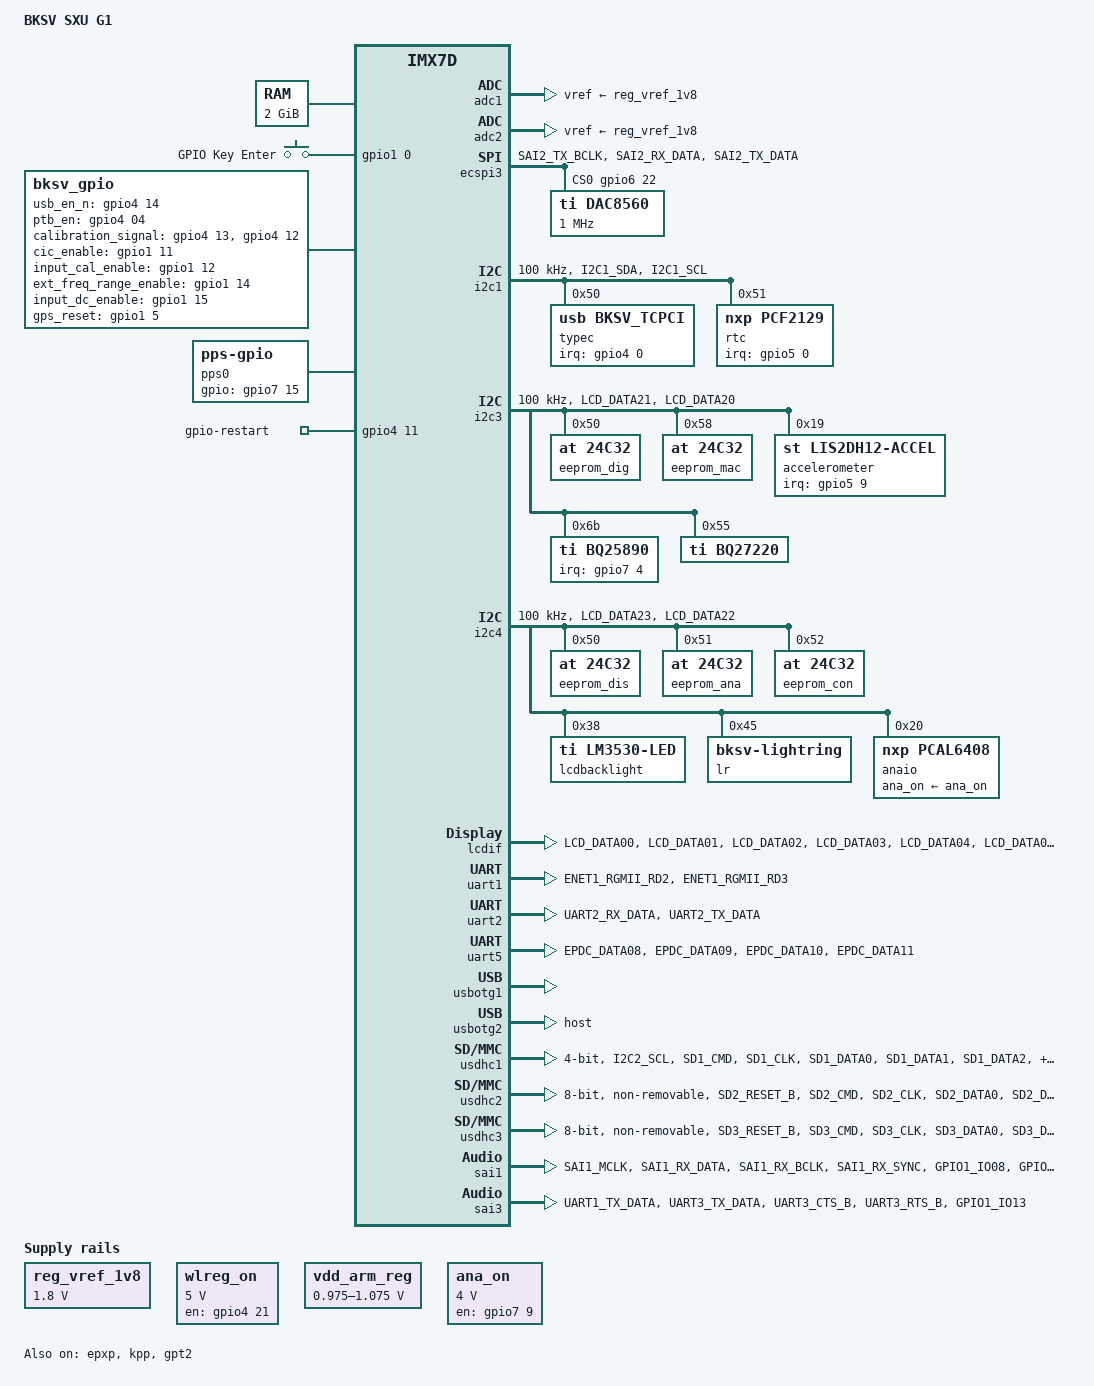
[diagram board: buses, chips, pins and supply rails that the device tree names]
/*
 * Copyright (C) 2015 Freescale Semiconductor, Inc.
 *
 * This program is free software; you can redistribute it and/or modify
 * it under the terms of the GNU General Public License version 2 as
 * published by the Free Software Foundation.
 */

/dts-v1/;

#include <dt-bindings/input/input.h>
#include "imx7d.dtsi"

/ {
	model = "BKSV SXU G1";
	compatible = "bksv,sxu-g1", "fsl,imx7d";


	memory {
		reg = <0x80000000 0x80000000>;
	};
	pxp_v4l2_out {
		compatible = "fsl,imx7d-pxp-v4l2", "fsl,imx6sx-pxp-v4l2", "fsl,imx6sl-pxp-v4l2";
		status = "okay";
	};

	regulators {
		compatible = "simple-bus";
		#address-cells = <1>;
		#size-cells = <0>;

		reg_vref_1v8: regulator@5 {
			compatible = "regulator-fixed";
			reg = <5>;
			regulator-name = "vref-1v8";
			regulator-min-microvolt = <1800000>;
			regulator-max-microvolt = <1800000>;
		};

		wlreg_on: fixedregulator@100 {
			compatible = "regulator-fixed";
			regulator-min-microvolt = <5000000>;
			regulator-max-microvolt = <5000000>;
			regulator-name = "wlreg_on";
			gpio = <&gpio4 21 GPIO_ACTIVE_HIGH>;
			startup-delay-us = <100>;
			enable-active-high;
		};

		vdd_arm_reg: gpio-regulator {
			compatible = "regulator-gpio";
			regulator-name = "vdd_arm_reg";
			regulator-type = "voltage";
			regulator-min-microvolt = <975000>;
			regulator-max-microvolt = <1075000>;

			gpios = <&gpio5 01 GPIO_ACTIVE_HIGH>;
			states = <975000 0x0
					  1075000 0x1>;
			regulator-always-on;
			startup-delay-us = <1000>;
		};

		ana_on: fixedregulator@101 {
			compatible = "regulator-fixed";
			regulator-min-microvolt = <4000000>;
			regulator-max-microvolt = <4000000>;
			regulator-name = "ana_on";
			gpio = <&gpio7 9 GPIO_ACTIVE_HIGH>;
			regulator-enable-ramp-delay = <100000>;
			enable-active-high;
		};

	};
	gpio-keys {
		compatible = "gpio-keys";
		pinctrl-names = "default";
		pinctrl-0 = <&pinctrl_gpio_keys>;
		autorepeat;
		enter {
			label = "GPIO Key Enter";
			linux,code = <KEY_ENTER>;
			gpios = <&gpio1 0 GPIO_ACTIVE_HIGH>;
			autorepeat;
		};
	};

	bksv_gpio {
		compatible = "bksv_gpio";
		pinctrl-names = "default";
		pinctrl-0 = <&pinctrl_bksv_gpio &pinctrl_gpio_gnss1>;
		status = "okay";
		usb_en_n-gpios              = <&gpio4 14 GPIO_ACTIVE_HIGH>;
		ptb_en-gpios                = <&gpio4 04 GPIO_ACTIVE_HIGH>;
		calibration_signal-gpios    = <&gpio4 13 GPIO_ACTIVE_HIGH>, //CAL_A0
                                      <&gpio4 12 GPIO_ACTIVE_HIGH>; //CAL_A1
		cic_enable-gpios            = <&gpio1 11 GPIO_ACTIVE_HIGH>;
		input_cal_enable-gpios      = <&gpio1 12 GPIO_ACTIVE_HIGH>;
		ext_freq_range_enable-gpios = <&gpio1 14 GPIO_ACTIVE_HIGH>;
		input_dc_enable-gpios       = <&gpio1 15 GPIO_ACTIVE_HIGH>;
		gps_reset-gpios             = <&gpio1  5 GPIO_ACTIVE_HIGH>;
	    psu_burst-gpios             = <&gpio2 27 GPIO_ACTIVE_HIGH>;
	    ext_access-gpios            = <&gpio2 24 GPIO_ACTIVE_HIGH>;
	    tp500-gpios                 = <&gpio7 13 GPIO_ACTIVE_HIGH>;
        ana_on-supply = <&ana_on>;
	};


	pps0 {
	 	pinctrl-names = "default";
	 	pinctrl-0 = <&pinctrl_pps>;

	 	gpios = <&gpio7 15 GPIO_ACTIVE_HIGH>;
	/* 	assert-falling-edge; */

	 	compatible = "pps-gpio";
	 	status = "okay";
	};
	
	gpio-restart {
		pinctrl-names = "default";
		pinctrl-0 = <&pinctrl_gpio_reset>;
		gpios = <&gpio4 11 GPIO_ACTIVE_HIGH>;
		priority = <255>;
		wait-delay = <300>;

		compatible = "gpio-restart";
		status = "okay";	
	};
};
&cpu0 {
	arm-supply = <&vdd_arm_reg>;
	operating-points = <
		/* KHz	uV */
		996000	1075000
		780000	975000
	>;
};

&adc1 {
	vref-supply = <&reg_vref_1v8>;
	status = "okay";
};

&adc2 {
	vref-supply = <&reg_vref_1v8>;
	status = "okay";
};

&epxp {
	status = "okay";
};

&ecspi3 {
	fsl,spi-num-chipselects = <1>;
	pinctrl-names = "default";
	pinctrl-0 = <&pinctrl_ecspi3 &pinctrl_ecspi3_cs>;
	cs-gpios = <&gpio6 22 0>;
	status = "okay";
	dac8560: dac8560@0 {
		compatible = "ti,dac8560";
		reg = <0>; /* CS0 */
		spi-max-frequency = <1000000>;
        init-val = <35000>;
	};

};

/* I2C-1: RTC 0x51 (test), USB type-c 0x50 (X)*/
&i2c1 {
	clock-frequency = <100000>;
	pinctrl-names = "default";
	pinctrl-0 = <&pinctrl_i2c1>;
	status = "okay";
	assigned-clocks = <&clks IMX7D_I2C1_ROOT_SRC>,
			          <&clks IMX7D_I2C1_ROOT_CLK>;
 	assigned-clock-parents = <&clks IMX7D_PLL_SYS_PFD2_135M_CLK>;
	assigned-clock-rates = <0>,<67500000>;

	typec: ptn5110@50 {
		compatible = "usb,bksv_tcpci";
    	pinctrl-names = "default";
		pinctrl-0 = <&pinctrl_tcpc>;
		reg = <0x50>;
		interrupt-parent = <&gpio4>;
		interrupts = <0 IRQ_TYPE_LEVEL_LOW>;
		port-type = "dual";
		default-role = "sink";
		src-pdos = <0x36019032>;
		snk-pdos = <0x26019000>;
		max-snk-mv = <5000>;
		max-snk-ma = <3000>;
		max-snk-mw = <15000>;
		op-snk-mw = <0>;
	};

	rtc: rtc@51 {
		compatible = "nxp,pcf2129";
    	pinctrl-names = "default";
		pinctrl-0 = <&pinctrl_rtc>;
		reg = <0x51>;
		interrupt-parent = <&gpio5>;
        interrupts = <0 IRQ_TYPE_EDGE_FALLING>;
	};

};

/* I2C-2: */
/*
&i2c2 {
	clock-frequency = <100000>;
	pinctrl-names = "default";
	pinctrl-0 = <&pinctrl_i2c2>;
	status = "disabled";
};
*/

/* I2C-3: Temperature sensor 0x49 (not mounted), IDprom 0x50 (✓), 
   Accelerometer 0x19 (test), Battery charger bq25896 0x6B (test),
   Fuel Gauge 0x55 (test)
*/
&i2c3 {
	clock-frequency = <100000>;
	pinctrl-names = "default";
	pinctrl-0 = <&pinctrl_i2c3>;
	status = "okay";
	assigned-clocks = <&clks IMX7D_I2C3_ROOT_SRC>,
			          <&clks IMX7D_I2C3_ROOT_CLK>;
 	assigned-clock-parents = <&clks IMX7D_PLL_SYS_PFD2_135M_CLK>;
	assigned-clock-rates = <0>,<67500000>;

    eeprom_dig: eeprom@50 {				//id prom, digital board
		compatible = "at,24c32";
        reg = <0x50>;
    };
    eeprom_mac: eeprom@58 {				//id prom, digital board, containing base station MAC address
		compatible = "at,24c32";
        reg = <0x58>;
    };
    accelerometer: accelerometer@19 {
        compatible = "st,lis2dh12-accel";
        reg = <0x19>;
		interrupt-parent = <&gpio5>;
		interrupts = <9 IRQ_TYPE_LEVEL_HIGH>,<10 IRQ_TYPE_LEVEL_HIGH>;
    };
    
/*	
	bat: battery {
    		compatible = "simple-battery";
			/ *
            voltage-min-design-microvolt = <3700000>;
            energy-full-design-microwatt-hours = <5290000>;
            charge-full-design-microamp-hours = <5800000>;
            precharge-current-microamp = <128000>;
            charge-term-current-microamp = <100000>;
            constant-charge-current-max-microamp = <3000000>;
            constant-charge-voltage-max-microvolt = <4200000>;
			* /
	};
*/    
    
	bq25890: bq25890@6b {
		    compatible = "ti,bq25890";
		    reg = <0x6b>;
			pinctrl-names ="default";
			pinctrl-0 = <&pinctrl_gpio_bq25890>;

			interrupt-parent = <&gpio7>;
            interrupts = <4 IRQ_TYPE_EDGE_FALLING>;

		    ti,battery-regulation-voltage = <4200000>;
		    ti,charge-current = <3000000>;
		    ti,termination-current = <256000>;
		    ti,precharge-current = <128000>;
		    ti,minimum-sys-voltage = <3600000>;
		    ti,boost-voltage = <5000000>;
		    ti,boost-max-current = <500000>;
			ti,ir-compensation = <20>;

		    ti,use-ilim-pin;
			ti,use-adpdm;
			ti,adc-1s;
		    ti,thermal-regulation-threshold = <120>;
			ti,input-voltage-limit-offset = <600000>;
			ti,pfm-otg-dis;
			ti,watchdog = <40>;
            
            /* monitored-battery: phandle of battery characteristics devicetree node */
           /* monitored-battery = <&bat>; */
	};

	bq27220: bq27220@55 {
		    compatible = "ti,bq27220";
		    reg = <0x55>;
            
            /* monitored-battery: phandle of battery characteristics devicetree node */
           /* monitored-battery = <&bat>;        */    
    };
/* 
    temperature: temperature@49 {
    	compatible = "national,lm75";
    	reg = <0x49>;
    };
*/

};
/* I2C-4: Display ID 0x50 (X), Backlight 0x38 (✓),
          Connector board ID 0x52 (X), LED 0x45,
          Analog interface ID 0x51 (X) */
&i2c4 {
	clock-frequency = <100000>;
	pinctrl-names = "default";
	pinctrl-0 = <&pinctrl_i2c4>;
	status = "okay";
	assigned-clocks = <&clks IMX7D_I2C4_ROOT_SRC>,
			          <&clks IMX7D_I2C4_ROOT_CLK>;
 	assigned-clock-parents = <&clks IMX7D_PLL_SYS_PFD2_135M_CLK>;
	assigned-clock-rates = <0>,<67500000>;


    eeprom_dis: eeprom@50 {                        //id prom, display board
		compatible = "at,24c32";
        reg = <0x50>;
    };

    eeprom_ana: eeprom@51 {                        //id prom, analog board
		compatible = "at,24c32";
        reg = <0x51>;
    };

    eeprom_con: eeprom@52 {                        //id prom, connector board
		compatible = "at,24c32";
        reg = <0x52>;
    };


    lcdbacklight: lcdbacklight@38 {
          compatible = "ti,lm3530-led";
          reg = <0x38>;
          linux,default-trigger = "backlight";
          mode = "man";
          als_input_mode = "INPUT_AVRG";
          max_current = /bits/ 8 <4>;
          pwm_pol_hi;
          als_avrg_time = /bits/ 8 <1>;
          //brt_ramp_law;
          brt_ramp_fall = /bits/ 8<3>;
          brt_ramp_rise = /bits/ 8 <3>;
          als1_resistor_sel = /bits/ 8 <1>;
          als2_resistor_sel = /bits/ 8 <1>;
          als_vmin = <3>;
          als_vmax = <4>;
          brt_val = /bits/ 8 <85>;
          //pwm_data;
    };

	lr@45 {
		compatible = "bksv-lightring";
		#address-cells = <1>;
		#size-cells = <0>;
		reg = <0x45>;

		led0: red-bot@0 {
			label = "red:bot";
			reg = <0x6>;
		};

		led1: green-bot@1 {
			label = "green:bot";
			reg = <0x4>;
		};

		led2: blue-bot@2 {
			label = "blue:bot";
			reg = <0x5>;
		};

		led3: red-top@4 {
			label = "red:top";
			reg = <0x0>;
		};

		led4: green-top@5 {
			label = "green:top";
			reg = <0x2>;
		};

		led5: blue-top@6 {
			label = "blue:top";
			reg = <0x1>;
		};

	};

	anaio@20 {
		compatible = "nxp,pcal6408";
		reg = <0x20>;
		pinctrl-names = "default";
//		pinctrl-0 = <&pinctrl_pcal6408>;
//		interrupt-parent = <&gpio1>;
//		interrupts = <10 IRQ_TYPE_LEVEL_HIGH>;
//Bit 0,1,2 windscreen input
//Bit 4,5   output to ADC OSR, default 11b
        regs_init  = <0x01 0x30  0x03 0xCF  0x43 0xF8  0x44 0x00  0x45 0xF8>;
        ana_on-supply = <&ana_on>;
	};
	
};


&iomuxc {
	pinctrl-names = "default";
	pinctrl-0 = <&pinctrl_hog_1>;

	imx7d-sdb {
		pinctrl_hog_1: hoggrp-1 {
			fsl,pins = <
				MX7D_PAD_SD1_WP__GPIO5_IO1      0x19  /*V_ARM_HI*/
			>;
		};
		/* Checked */
		pinctrl_ecspi3_cs: ecspi3_cs_grp {
			fsl,pins = <
				MX7D_PAD_SAI2_TX_DATA__GPIO6_IO22	0x80000000
			>;
		};
		/* Checked */
		pinctrl_ecspi3: ecspi3grp {
			fsl,pins = <
				MX7D_PAD_SAI2_TX_BCLK__ECSPI3_MOSI	0x2
				MX7D_PAD_SAI2_RX_DATA__ECSPI3_SCLK	0x2
			>;
		};

		/* Assume not changed */
		pinctrl_i2c1: i2c1grp {
			fsl,pins = <
				MX7D_PAD_I2C1_SDA__I2C1_SDA	0x4000007e
				MX7D_PAD_I2C1_SCL__I2C1_SCL	0x40000076
			>;
		};
		
		pinctrl_tcpc: tcpcgrp {
			fsl,pins = <
				MX7D_PAD_UART1_RX_DATA__GPIO4_IO0	0x38  /*ALERT_N*/
			>;
		};

		pinctrl_rtc: rtcgrp {
			fsl,pins = <
				MX7D_PAD_SD1_CD_B__GPIO5_IO0	0x04
			>;
		};
		
/*i2c2 not used 		
		pinctrl_i2c2: i2c2grp {
			fsl,pins = <
				MX7D_PAD_I2C2_SDA__I2C2_SDA	0x4000007f
				MX7D_PAD_I2C2_SCL__I2C2_SCL	0x4000007f
			>;
		};
*/
		pinctrl_i2c3: i2c3grp {
			fsl,pins = <
				MX7D_PAD_LCD_DATA21__I2C3_SDA          0x4000007e
				MX7D_PAD_LCD_DATA20__I2C3_SCL          0x40000076
			>;
		};
		pinctrl_i2c4: i2c4grp {
			fsl,pins = <
				MX7D_PAD_LCD_DATA23__I2C4_SDA		0x4000007e
				MX7D_PAD_LCD_DATA22__I2C4_SCL		0x40000076
			>;
		};
		pinctrl_lcdif_dat: lcdifdatgrp {
			fsl,pins = <
				MX7D_PAD_LCD_DATA00__LCD_DATA0	0x7C
				MX7D_PAD_LCD_DATA01__LCD_DATA1	0x7C
				MX7D_PAD_LCD_DATA02__LCD_DATA2	0x7C
				MX7D_PAD_LCD_DATA03__LCD_DATA3	0x7C
				MX7D_PAD_LCD_DATA04__LCD_DATA4	0x7C
				MX7D_PAD_LCD_DATA05__LCD_DATA5	0x7C
				MX7D_PAD_LCD_DATA06__LCD_DATA6	0x7C
				MX7D_PAD_LCD_DATA07__LCD_DATA7	0x7C
				MX7D_PAD_LCD_DATA08__LCD_DATA8	0x7C
				MX7D_PAD_LCD_DATA09__LCD_DATA9	0x7C
				MX7D_PAD_LCD_DATA10__LCD_DATA10	0x7C
				MX7D_PAD_LCD_DATA11__LCD_DATA11	0x7C
				MX7D_PAD_LCD_DATA12__LCD_DATA12	0x7C
				MX7D_PAD_LCD_DATA13__LCD_DATA13	0x7C
				MX7D_PAD_LCD_DATA14__LCD_DATA14	0x7C
				MX7D_PAD_LCD_DATA15__LCD_DATA15	0x7C
				MX7D_PAD_LCD_DATA16__LCD_DATA16	0x7C
				MX7D_PAD_LCD_DATA17__LCD_DATA17	0x7C
			>;
		};

		pinctrl_lcdif_ctrl: lcdifctrlgrp {
			fsl,pins = <
				MX7D_PAD_EPDC_GDRL__LCD_RD_E	0x74
				MX7D_PAD_EPDC_GDOE__LCD_WR_RWN	0x74
				MX7D_PAD_EPDC_BDR0__LCD_CS	    0x74
				MX7D_PAD_LCD_RESET__LCD_RESET	0x74 /*LCD_RS   */
				MX7D_PAD_LCD_ENABLE__GPIO3_IO1	0x74 /*LCD_RESET*/
			>;
		};

		/* New not checked, CHECK CONFIG BITS*/
		
		pinctrl_kpp_1: kppctrlgrp {
			fsl,pins = <
				MX7D_PAD_EPDC_DATA06__KPP_ROW0	0x39
				MX7D_PAD_EPDC_DATA04__KPP_ROW1	0x39
				MX7D_PAD_EPDC_DATA02__KPP_ROW2	0x39
				MX7D_PAD_EPDC_DATA00__KPP_ROW3	0x39 /* NOT CONNECTED*/ 
				MX7D_PAD_EPDC_DATA07__KPP_COL0	0x39
				MX7D_PAD_EPDC_DATA05__KPP_COL1  0x39
			>;
		};
		pinctrl_gpio_bq25890: gpio_bq25890grp {
			fsl,pins = <
				MX7D_PAD_ENET1_RGMII_RX_CTL__GPIO7_IO4	0x59
                MX7D_PAD_ENET1_RGMII_RXC__GPIO7_IO5     0x59
			>;
		};


		/* Checked, except pin-cfg */
		pinctrl_sai1: sai1grp {
			fsl,pins = <
				MX7D_PAD_SAI1_MCLK__SAI1_MCLK           0x06 //tuned for ana+dig board ver 4
                MX7D_PAD_SAI1_RX_DATA__SAI1_RX_DATA0    0x18
				MX7D_PAD_SAI1_RX_BCLK__SAI1_RX_BCLK     0x06
				MX7D_PAD_SAI1_RX_SYNC__SAI1_RX_SYNC     0x06
			>;
		};

		pinctrl_analog_ctrl: analogctrlgrp {
			fsl,pins = <
                MX7D_PAD_GPIO1_IO08__GPIO1_IO8              0x18 //OVL_HIGH_N
                MX7D_PAD_GPIO1_IO09__GPIO1_IO9              0x18 //OVL_LOW_N
                MX7D_PAD_GPIO1_IO10__GPIO1_IO10             0x04 //ANA_INT
				MX7D_PAD_EPDC_SDOE__GPIO2_IO18	            0x74 //MCLK_CPU_EN   
                MX7D_PAD_ENET1_RGMII_TX_CTL__GPT2_COMPARE1  0x74 //ADC_START_ARM
/*              MX7D_PAD_ENET1_RGMII_TX_CTL__GPIO7_IO10     0x74 //ADC_START_ARM */
                MX7D_PAD_EPDC_SDCE2__GPIO2_IO22             0x74 //LED0
                MX7D_PAD_EPDC_SDCE3__GPIO2_IO23             0x74 //LED1
			>;
		};

		pinctrl_bksv_gpio: bksv_gpiogrp {
			fsl,pins = <
                MX7D_PAD_I2C4_SCL__GPIO4_IO14           0x40000074 //USB_EN_N
				MX7D_PAD_UART3_RX_DATA__GPIO4_IO4       0x40000074 //PTB_EN
				MX7D_PAD_I2C3_SDA__GPIO4_IO13           0x40000074 //CAL_A0
				MX7D_PAD_I2C3_SCL__GPIO4_IO12           0x40000074 //CAL_A1
				MX7D_PAD_GPIO1_IO11__GPIO1_IO11         0x40000074 //CIC_EN
				MX7D_PAD_GPIO1_IO12__GPIO1_IO12         0x40000074 //INPUT_CAL_EN
				MX7D_PAD_GPIO1_IO14__GPIO1_IO14         0x40000074 //EXT_FREQ_RANGE
				MX7D_PAD_GPIO1_IO15__GPIO1_IO15         0x40000074 //DC
                MX7D_PAD_EPDC_GDSP__GPIO2_IO27          0x40000074 //EN_PSU_BURST_N
				MX7D_PAD_ENET1_RGMII_TD3__GPIO7_IO9	    0x40000074 //ANA_ON
				MX7D_PAD_ENET1_RX_CLK__GPIO7_IO13	    0x40000074 //TP500
			>;
		};
		pinctrl_pps: pinctrl_ppsgrp {
			fsl,pins = <
                MX7D_PAD_ENET1_COL__GPIO7_IO15          0x04 //PPS from GPS
			>;
		};
		pinctrl_gpio_reset: pinctrl_gpio_resetgrp {
			fsl,pins = <
                MX7D_PAD_I2C2_SDA__GPIO4_IO11           0x00 //module reset
			>;
		};

		pinctrl_sai3: sai3grp {
			fsl,pins = <                                     //tuned for ana+dig board ver 3
				MX7D_PAD_UART1_TX_DATA__SAI3_MCLK       0x06 // mclk
				MX7D_PAD_UART3_TX_DATA__SAI3_TX_BCLK    0x06 // bit clk
				MX7D_PAD_UART3_CTS_B__SAI3_TX_SYNC      0x06 // lr clk
				MX7D_PAD_UART3_RTS_B__SAI3_TX_DATA0     0x06 // data out
			>;
		};

		pinctrl_dac_ctrl: dacctrlgrp {
			fsl,pins = <
                MX7D_PAD_GPIO1_IO13__GPIO1_IO13         0x14 //GEN_DISABLE
			>;
		};

		pinctrl_gpt2: gpt2ctrlgrp {
			fsl,pins = <
                MX7D_PAD_ENET1_CRS__GPT2_CAPTURE1       0x04 //GNSS_TIME_PULSE
			>;
		};

		pinctrl_uart1: uart1grp {
			fsl,pins = <
                MX7D_PAD_ENET1_RGMII_RD2__UART1_DCE_RX     0x00000078 
                MX7D_PAD_ENET1_RGMII_RD3__UART1_DCE_TX     0x00000004
			>;
		};
		/* New */
		pinctrl_uart2: uart2grp {
			fsl,pins = <
                MX7D_PAD_UART2_RX_DATA__UART2_DCE_RX       0x00000014 
                MX7D_PAD_UART2_TX_DATA__UART2_DCE_TX       0x00000014
			>;
		};
		/* Checked */
		pinctrl_uart6: uart6grp {
			fsl,pins = <
                MX7D_PAD_EPDC_DATA08__UART6_DCE_RX         0x00000014
                MX7D_PAD_EPDC_DATA09__UART6_DCE_TX         0x00000014
                MX7D_PAD_EPDC_DATA10__UART6_DCE_RTS        0x00000014
                MX7D_PAD_EPDC_DATA11__UART6_DCE_CTS        0x00000014
			>;
		};
		/* Checked */
		pinctrl_uart7: uart7grp {
			fsl,pins = <
                MX7D_PAD_EPDC_DATA12__UART7_DCE_RX         0x00000014
                MX7D_PAD_EPDC_DATA13__UART7_DCE_TX         0x00000014
                MX7D_PAD_EPDC_DATA14__UART7_DCE_RTS        0x00000014
                MX7D_PAD_EPDC_DATA15__UART7_DCE_CTS        0x00000014
			>;
		};

		pinctrl_usdhc1: usdhc1grp {   /* wireless module */
			fsl,pins = <
                MX7D_PAD_I2C2_SCL__GPIO4_IO10     0x1A
				MX7D_PAD_SD1_CMD__SD1_CMD		  0x59
				MX7D_PAD_SD1_CLK__SD1_CLK		  0x01 //tuned to dig 03 and con 02
				MX7D_PAD_SD1_DATA0__SD1_DATA0	  0x59
				MX7D_PAD_SD1_DATA1__SD1_DATA1	  0x59
				MX7D_PAD_SD1_DATA2__SD1_DATA2	  0x59
				MX7D_PAD_SD1_DATA3__SD1_DATA3	  0x59
			>;
		};

		pinctrl_usdhc1_100mhz: usdhc1grp_100mhz {
			fsl,pins = <
                MX7D_PAD_I2C2_SCL__GPIO4_IO10     0x19
				MX7D_PAD_SD1_CMD__SD1_CMD		  0x5a
				MX7D_PAD_SD1_CLK__SD1_CLK		  0x1a
				MX7D_PAD_SD1_DATA0__SD1_DATA0	  0x5a
				MX7D_PAD_SD1_DATA1__SD1_DATA1	  0x5a
				MX7D_PAD_SD1_DATA2__SD1_DATA2	  0x5a
				MX7D_PAD_SD1_DATA3__SD1_DATA3	  0x5a
			>;
		};

		pinctrl_usdhc1_200mhz: usdhc1grp_200mhz {
			fsl,pins = <
                MX7D_PAD_I2C2_SCL__GPIO4_IO10     0x19
				MX7D_PAD_SD1_CMD__SD1_CMD		  0x5b
				MX7D_PAD_SD1_CLK__SD1_CLK		  0x1b
				MX7D_PAD_SD1_DATA0__SD1_DATA0	  0x5b
				MX7D_PAD_SD1_DATA1__SD1_DATA1	  0x5b
				MX7D_PAD_SD1_DATA2__SD1_DATA2	  0x5b
				MX7D_PAD_SD1_DATA3__SD1_DATA3	  0x5b
			>;
		};

		pinctrl_usdhc2: usdhc2grp {     /* data eMMC flash */
			fsl,pins = <
                MX7D_PAD_SD2_RESET_B__SD2_RESET 0x19
				MX7D_PAD_SD2_CMD__SD2_CMD       0x59
				MX7D_PAD_SD2_CLK__SD2_CLK       0x19
				MX7D_PAD_SD2_DATA0__SD2_DATA0   0x59
				MX7D_PAD_SD2_DATA1__SD2_DATA1   0x59
				MX7D_PAD_SD2_DATA2__SD2_DATA2   0x59
				MX7D_PAD_SD2_DATA3__SD2_DATA3   0x59
                MX7D_PAD_ECSPI1_MISO__SD2_DATA6 0x59
                MX7D_PAD_ECSPI1_MOSI__SD2_DATA5 0x59
                MX7D_PAD_ECSPI1_SCLK__SD2_DATA4 0x59
                MX7D_PAD_ECSPI1_SS0__SD2_DATA7  0x59
			>;
		};

		pinctrl_usdhc2_100mhz: usdhc2grp_100mhz {
			fsl,pins = <
                MX7D_PAD_SD2_RESET_B__SD2_RESET 0x19
				MX7D_PAD_SD2_CMD__SD2_CMD       0x5a
				MX7D_PAD_SD2_CLK__SD2_CLK       0x1a
				MX7D_PAD_SD2_DATA0__SD2_DATA0   0x5a
				MX7D_PAD_SD2_DATA1__SD2_DATA1   0x5a
				MX7D_PAD_SD2_DATA2__SD2_DATA2   0x5a
				MX7D_PAD_SD2_DATA3__SD2_DATA3   0x5a
                MX7D_PAD_ECSPI1_MISO__SD2_DATA6 0x5a
                MX7D_PAD_ECSPI1_MOSI__SD2_DATA5 0x5a
                MX7D_PAD_ECSPI1_SCLK__SD2_DATA4 0x5a
                MX7D_PAD_ECSPI1_SS0__SD2_DATA7  0x5a
			>;
		};

		pinctrl_usdhc2_200mhz: usdhc2grp_200mhz {
			fsl,pins = <
                MX7D_PAD_SD2_RESET_B__SD2_RESET 0x19
				MX7D_PAD_SD2_CMD__SD2_CMD       0x5b
				MX7D_PAD_SD2_CLK__SD2_CLK       0x1b
				MX7D_PAD_SD2_DATA0__SD2_DATA0   0x5b
				MX7D_PAD_SD2_DATA1__SD2_DATA1   0x5b
				MX7D_PAD_SD2_DATA2__SD2_DATA2   0x5b
				MX7D_PAD_SD2_DATA3__SD2_DATA3   0x5b
                MX7D_PAD_ECSPI1_MISO__SD2_DATA6 0x5b
                MX7D_PAD_ECSPI1_MOSI__SD2_DATA5 0x5b
                MX7D_PAD_ECSPI1_SCLK__SD2_DATA4 0x5b
                MX7D_PAD_ECSPI1_SS0__SD2_DATA7  0x5b
			>;
		};

		pinctrl_usdhc3: usdhc3grp {     /* boot eMMC flash */
			fsl,pins = <
				MX7D_PAD_SD3_RESET_B__SD3_RESET     0x14
                MX7D_PAD_SD3_CMD__SD3_CMD		    0x5a
				MX7D_PAD_SD3_CLK__SD3_CLK		    0x13
				MX7D_PAD_SD3_DATA0__SD3_DATA0		0x5a
				MX7D_PAD_SD3_DATA1__SD3_DATA1		0x5a
				MX7D_PAD_SD3_DATA2__SD3_DATA2		0x5a
				MX7D_PAD_SD3_DATA3__SD3_DATA3		0x5a
				MX7D_PAD_SD3_DATA4__SD3_DATA4		0x5a
				MX7D_PAD_SD3_DATA5__SD3_DATA5		0x5a
				MX7D_PAD_SD3_DATA6__SD3_DATA6		0x5a
				MX7D_PAD_SD3_DATA7__SD3_DATA7		0x5a
				MX7D_PAD_SD3_STROBE__SD3_STROBE     0x19
			>;
		};

		pinctrl_usdhc3_100mhz: usdhc3grp_100mhz {
			fsl,pins = <
				MX7D_PAD_SD3_RESET_B__SD3_RESET     0x14
				MX7D_PAD_SD3_CMD__SD3_CMD		    0x59
				MX7D_PAD_SD3_CLK__SD3_CLK		    0x13
				MX7D_PAD_SD3_DATA0__SD3_DATA0		0x59
				MX7D_PAD_SD3_DATA1__SD3_DATA1		0x59
				MX7D_PAD_SD3_DATA2__SD3_DATA2		0x59
				MX7D_PAD_SD3_DATA3__SD3_DATA3		0x59
				MX7D_PAD_SD3_DATA4__SD3_DATA4		0x59
				MX7D_PAD_SD3_DATA5__SD3_DATA5		0x59
				MX7D_PAD_SD3_DATA6__SD3_DATA6		0x59
				MX7D_PAD_SD3_DATA7__SD3_DATA7		0x59
				MX7D_PAD_SD3_STROBE__SD3_STROBE     0x18
			>;
		};

		pinctrl_usdhc3_200mhz: usdhc3grp_200mhz {
			fsl,pins = <
				MX7D_PAD_SD3_RESET_B__SD3_RESET     0x14
				MX7D_PAD_SD3_CMD__SD3_CMD		    0x5b
				MX7D_PAD_SD3_CLK__SD3_CLK		    0x13
				MX7D_PAD_SD3_DATA0__SD3_DATA0		0x5b
				MX7D_PAD_SD3_DATA1__SD3_DATA1		0x5b
				MX7D_PAD_SD3_DATA2__SD3_DATA2		0x5b
				MX7D_PAD_SD3_DATA3__SD3_DATA3		0x5b
				MX7D_PAD_SD3_DATA4__SD3_DATA4		0x5b
				MX7D_PAD_SD3_DATA5__SD3_DATA5		0x5b
				MX7D_PAD_SD3_DATA6__SD3_DATA6		0x5b
				MX7D_PAD_SD3_DATA7__SD3_DATA7		0x5b
				MX7D_PAD_SD3_STROBE__SD3_STROBE     0x18
			>;
		};
	};
};


&iomuxc_lpsr {
	pinctrl-names = "default";
	pinctrl-0 = <&pinctrl_hog_2>;

	imx7d-sdb {
		pinctrl_gpio_keys: gpio_keysgrp {
			fsl,pins = <
				MX7D_PAD_GPIO1_IO00__GPIO1_IO0    0x00
			>;
		};

		pinctrl_hog_2: hoggrp-2 {
			fsl,pins = <
				MX7D_PAD_GPIO1_IO01__GPIO1_IO1	  0x78
//				MX7D_PAD_GPIO1_IO02__GPIO1_IO2	  0x1C
			>;
		};

/*
		pinctrl_uart5: uart5grp {
			fsl,pins = <
                MX7D_PAD_GPIO1_IO06__UART5_DCE_RX 0x58
                MX7D_PAD_GPIO1_IO07__UART5_DCE_TX 0x04
			>;
		};
*/

		pinctrl_lcd_lpsr: lcdlpsrgrp {
			fsl,pins = <
                MX7D_PAD_GPIO1_IO07__GPIO1_IO7 0x04
			>;
		};

		pinctrl_gpio_gnss1: gpio_gnss1grp {
			fsl,pins = <   
				MX7D_PAD_GPIO1_IO03__GPIO1_IO3	  0x74       //GNSS_SAFEBOOT_1_N
				MX7D_PAD_GPIO1_IO05__GPIO1_IO5    0x40000074 //GNSS_RESET_1_N
			>;
		};

	};
};

&lcdif {
	pinctrl-names = "default";
	pinctrl-0 = <&pinctrl_lcdif_dat &pinctrl_lcdif_ctrl &pinctrl_lcd_lpsr>;
	display = <&display0>;
	status = "okay";
	lcd_power-gpios = <&gpio1 7 GPIO_ACTIVE_HIGH>;
	lcd_reset-gpios = <&gpio3 1 GPIO_ACTIVE_HIGH>;
    lcd_rs_is_on_reset;
	display0: display_0 {
		mpu-mode;
		lcd_panel = "COM24H2P39ULC";
    };
};

&sdma {
	status = "okay";
};

&uart1 { /*console*/
	pinctrl-names = "default";
	pinctrl-0 = <&pinctrl_uart1>;
	assigned-clocks = <&clks IMX7D_UART1_ROOT_SRC>;
	assigned-clock-parents = <&clks IMX7D_PLL_ENET_MAIN_40M_CLK>;
	status = "okay";
};

&uart2 { /*gps*/
	pinctrl-names = "default";
	pinctrl-0 = <&pinctrl_uart2>;
	assigned-clocks = <&clks IMX7D_UART2_ROOT_SRC>;
	assigned-clock-parents = <&clks IMX7D_PLL_ENET_MAIN_40M_CLK>;
	status = "okay";
};

&uart5 { /*GPS on display board*/
	pinctrl-names = "default";
	pinctrl-0 = <&pinctrl_uart5>;
	assigned-clocks = <&clks IMX7D_UART5_ROOT_SRC>;
	assigned-clock-parents = <&clks IMX7D_OSC_24M_CLK>;
	/* for DTE mode, add below change * /
	/* fsl,dte-mode; * /
	/* pinctrl-0 = <&pinctrl_uart5dte>; * /
	status = "disabled";
};

&uart6 { /*BLE*/
	pinctrl-names = "default";
	pinctrl-0 = <&pinctrl_uart6>;
	assigned-clocks = <&clks IMX7D_UART6_ROOT_SRC>;
	assigned-clock-parents = <&clks IMX7D_PLL_SYS_MAIN_240M_CLK>;
	fsl,uart-has-rtscts;
	status = "okay";
};

&uart7 { /*M4*/
	pinctrl-names = "default";
	pinctrl-0 = <&pinctrl_uart7>;
	assigned-clocks = <&clks IMX7D_UART7_ROOT_SRC>;
	assigned-clock-parents = <&clks IMX7D_PLL_ENET_MAIN_40M_CLK>;
	status = "disabled";
};

&usbotg1 {
	srp-disable;
	hnp-disable;
	adp-disable;
	imx-usb-charger-detection;
	disable-over-current;
	status = "okay";
};

&usbotg2 {
	dr_mode = "host";
	disable-over-current;
	status = "okay";
};

&usdhc1 { /* wireless module */
	pinctrl-names = "default";
	pinctrl-0 = <&pinctrl_usdhc1>;
	assigned-clocks = <&clks IMX7D_USDHC1_ROOT_CLK>;
	assigned-clock-rates = <400000000>;
	bus-width = <4>;
	broken-cd; /* required for laird recovery procedure */
	status = "okay";
};

&usdhc2 {  /* Data eMMC flash*/
	pinctrl-names = "default";
	pinctrl-0 = <&pinctrl_usdhc2>;
	assigned-clocks = <&clks IMX7D_USDHC2_ROOT_CLK>;
	assigned-clock-rates = <400000000>;
	bus-width = <8>;
	non-removable;
	status = "okay";
};

&usdhc3 {  /* Boot eMMC flash */
	pinctrl-names = "default", "state_100mhz", "state_200mhz";
	pinctrl-0 = <&pinctrl_usdhc3>;
	pinctrl-1 = <&pinctrl_usdhc3_100mhz>;
	pinctrl-2 = <&pinctrl_usdhc3_200mhz>;
	assigned-clocks = <&clks IMX7D_USDHC3_ROOT_CLK>;
	assigned-clock-rates = <400000000>;
	bus-width = <8>;
    non-removable;
	status = "okay";
};

&kpp {
	pinctrl-names = "default";
	pinctrl-0 = <&pinctrl_kpp_1>;
	clocks = <&clks IMX7D_KPP_ROOT_CLK>;
	linux,keymap = <
			MATRIX_KEY(0x01, 0x0, KEY_UP)
			MATRIX_KEY(0x01, 0x1, KEY_DOWN)
			MATRIX_KEY(0x02, 0x0, KEY_RIGHT)
			MATRIX_KEY(0x00, 0x0, KEY_LEFT)
			MATRIX_KEY(0x02, 0x1, KEY_M)
			MATRIX_KEY(0x00, 0x1, KEY_R)
			>;
	status = "okay";
};

&clks {
	assigned-clocks = <&clks IMX7D_PLL_AUDIO_MAIN_SRC>,
	                  <&clks IMX7D_AUDIO_MCLK_ROOT_SRC>,
	                  <&clks IMX7D_PLL_AUDIO_MAIN>,
                      <&clks IMX7D_AUDIO_MCLK_ROOT_CLK>;
	assigned-clock-parents = <&clks IMX7D_CCM_CLK2>,
                             <&clks IMX7D_PLL_AUDIO_POST_DIV>;
	assigned-clock-rates = <0>,<0>,<671088640>,<16777216>; 
	
};


&sai1 {
	compatible = "bksv,imx7d-sai_adc";
	pinctrl-names = "default";
	pinctrl-0 = <&pinctrl_sai1  &pinctrl_analog_ctrl>;
	clock-names = "bus", "mclk0", "mclk1", "mclk2", "mclk3", "amclk";
	clocks = <&clks IMX7D_SAI1_IPG_CLK>,
	     <&clks IMX7D_CLK_DUMMY>,
	     <&clks IMX7D_SAI1_ROOT_CLK>,
	     <&clks IMX7D_CLK_DUMMY>,
         <&clks IMX7D_CLK_DUMMY>,
         <&clks IMX7D_AUDIO_MCLK_ROOT_CLK>;
	assigned-clocks = <&clks IMX7D_SAI1_ROOT_SRC>,
			          <&clks IMX7D_SAI1_ROOT_CLK>;
 	assigned-clock-parents = <&clks IMX7D_PLL_AUDIO_POST_DIV>;
	assigned-clock-rates = <0>,<33554432>;
	clock_enable-gpios = <&gpio2 18 GPIO_ACTIVE_HIGH>;
/*	adc_start-gpios    = <&gpio7 10 GPIO_ACTIVE_HIGH>; */
	ovl_high-gpios     = <&gpio1  8 GPIO_ACTIVE_LOW>;
	ovl_low-gpios      = <&gpio1  9 GPIO_ACTIVE_LOW>;
	ana_int-gpios      = <&gpio1 10 GPIO_ACTIVE_LOW>;
	sai1_mclk-gpios    = <&gpio6 18  GPIO_ACTIVE_HIGH>;
	sai1_bclk-gpios    = <&gpio6 17  GPIO_ACTIVE_HIGH>;
	sai1_sync-gpios    = <&gpio6 16  GPIO_ACTIVE_HIGH>;
	led0-gpios         = <&gpio2 22 GPIO_ACTIVE_HIGH>;
	led1-gpios         = <&gpio2 23 GPIO_ACTIVE_HIGH>;
    fsl,sai-asynchronous;
    ana_on-supply = <&ana_on>;
	status = "okay";
};

&sai3 {
	compatible = "bksv,imx7d-sai_dac";
	pinctrl-names = "default";
	pinctrl-0 = <&pinctrl_sai3 &pinctrl_dac_ctrl>;
	clocks = <&clks IMX7D_SAI3_IPG_CLK>,
	     <&clks IMX7D_CLK_DUMMY>,
	     <&clks IMX7D_SAI3_ROOT_CLK>,
	     <&clks IMX7D_CLK_DUMMY>,
         <&clks IMX7D_CLK_DUMMY>,
         <&clks IMX7D_AUDIO_MCLK_ROOT_CLK>;
	clock-names = "bus", "mclk0", "mclk1", "mclk2", "mclk3", "amclk";
	assigned-clocks = <&clks IMX7D_SAI3_ROOT_SRC>,
			          <&clks IMX7D_SAI3_ROOT_CLK>;
 	assigned-clock-parents = <&clks IMX7D_PLL_AUDIO_POST_DIV>;
	assigned-clock-rates = <0>,<16777216>;
	gen_disable-gpios    = <&gpio1 13 GPIO_ACTIVE_HIGH>;
	sai3_mclk-gpios      = <&gpio4 1  GPIO_ACTIVE_HIGH>;
	sai3_bclk-gpios      = <&gpio4 5  GPIO_ACTIVE_HIGH>;
	sai3_sync-gpios      = <&gpio4 7  GPIO_ACTIVE_HIGH>;
	sai3_data-gpios      = <&gpio4 6  GPIO_ACTIVE_HIGH>;
    fsl,sai-asynchronous;
    ana_on-supply = <&ana_on>;
	status = "okay";
};

&gpt2 {
	compatible = "bksv_timer";
	pinctrl-names = "default";
	pinctrl-0 = <&pinctrl_gpt2>;
	assigned-clocks = <&clks IMX7D_GPT2_ROOT_SRC>,
			          <&clks IMX7D_GPT2_ROOT_CLK>;
 	assigned-clock-parents = <&clks IMX7D_PLL_AUDIO_POST_DIV>;
	assigned-clock-rates = <0>,<16777216>;
	status = "okay";
};

